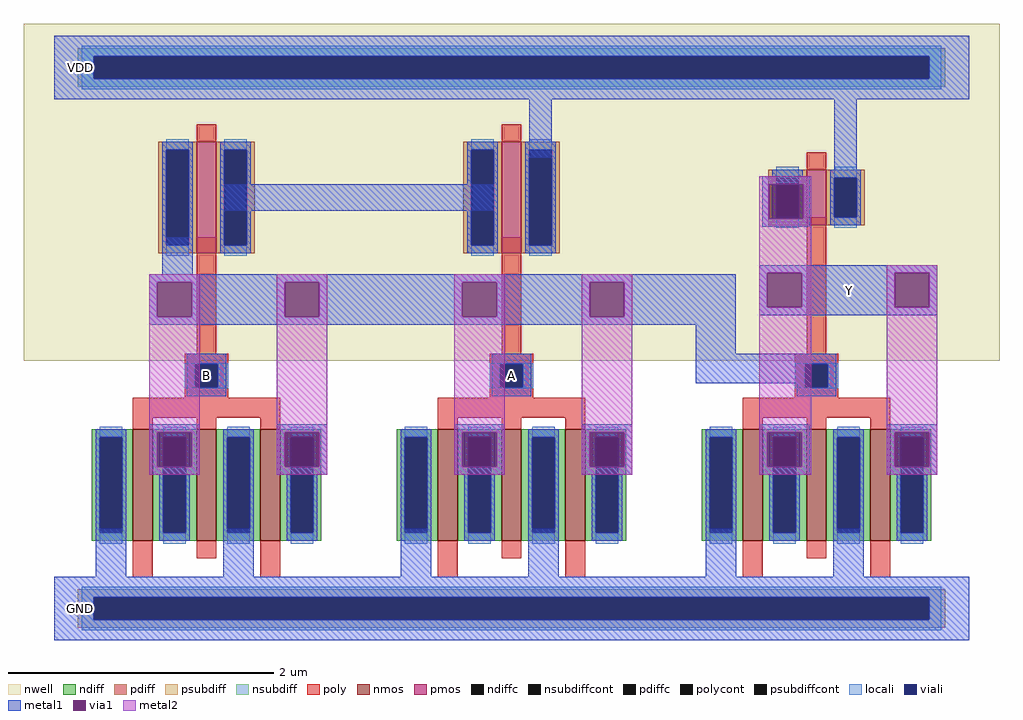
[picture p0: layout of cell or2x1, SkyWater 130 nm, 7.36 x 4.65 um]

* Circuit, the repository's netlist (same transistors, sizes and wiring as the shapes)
** sch_path: /foss/designs/or2x1.sch
.subckt or2x1 A B VDD GND Y
*.PININFO A:I B:I VDD:B GND:B Y:O
XM1 net1 A GND GND sky130_fd_pr__nfet_01v8 L=0.15 W=2.52 nf=3
XM3 net2 A VDD VDD sky130_fd_pr__pfet_01v8 L=0.15 W=0.84 nf=1
XM5 Y net1 VDD VDD sky130_fd_pr__pfet_01v8 L=0.15 W=0.42 nf=1
XM4 net1 B net2 VDD sky130_fd_pr__pfet_01v8 L=0.15 W=0.84 nf=1
XM2 net1 B GND GND sky130_fd_pr__nfet_01v8 L=0.15 W=2.52 nf=3
XM6 Y net1 GND GND sky130_fd_pr__nfet_01v8 L=0.15 W=2.52 nf=3
.ends

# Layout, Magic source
magic
tech sky130A
magscale 1 2
<< nwell >>
rect -46 374 1426 882
<< psubdiff >>
rect 36 17 1344 29
rect 36 -17 60 17
rect 1320 -17 1344 17
rect 36 -29 1344 -17
<< nsubdiff >>
rect 36 833 1344 845
rect 36 799 60 833
rect 1320 799 1344 833
rect 36 787 1344 799
<< psubdiffcont >>
rect 60 -17 1320 17
<< nsubdiffcont >>
rect 60 799 1320 833
<< poly >>
rect 215 384 245 560
rect 675 384 705 560
rect 1135 384 1165 590
rect 197 368 263 384
rect 197 334 213 368
rect 247 334 263 368
rect 197 318 263 334
rect 657 368 723 384
rect 657 334 673 368
rect 707 334 723 368
rect 657 318 723 334
rect 1117 368 1183 384
rect 1117 334 1133 368
rect 1167 334 1183 368
rect 1117 318 1183 334
rect 119 288 341 318
rect 579 288 801 318
rect 1039 288 1261 318
<< polycont >>
rect 213 334 247 368
rect 673 334 707 368
rect 1133 334 1167 368
<< locali >>
rect 42 833 1338 849
rect 42 799 60 833
rect 1320 799 1338 833
rect 42 783 1338 799
rect 197 368 263 370
rect 197 334 213 368
rect 247 334 263 368
rect 197 332 263 334
rect 657 368 723 370
rect 657 334 673 368
rect 707 334 723 368
rect 657 332 723 334
rect 1117 368 1183 370
rect 1117 334 1133 368
rect 1167 334 1183 368
rect 1117 332 1183 334
rect 42 17 1338 33
rect 42 -17 60 17
rect 1320 -17 1338 17
rect 42 -33 1338 -17
<< viali >>
rect 60 799 1320 833
rect 213 334 247 368
rect 673 334 707 368
rect 1133 334 1167 368
rect 60 -17 1320 17
<< metal1 >>
rect 0 833 1380 864
rect 0 799 60 833
rect 1320 799 1380 833
rect 0 768 1380 799
rect 717 680 751 768
rect 1068 640 1140 652
rect 1177 650 1211 768
rect 251 600 669 640
rect 1068 588 1078 640
rect 1130 588 1140 640
rect 1068 576 1140 588
rect 163 504 209 560
rect 1064 506 1332 518
rect 144 492 1028 504
rect 144 440 156 492
rect 208 440 348 492
rect 400 440 616 492
rect 668 440 808 492
rect 860 440 1028 492
rect 1064 454 1076 506
rect 1128 454 1268 506
rect 1320 454 1332 506
rect 1064 442 1332 454
rect 144 428 1028 440
rect 968 384 1028 428
rect 200 368 260 384
rect 200 334 213 368
rect 247 334 260 368
rect 200 320 260 334
rect 660 368 720 384
rect 660 334 673 368
rect 707 334 720 368
rect 968 368 1180 384
rect 968 340 1133 368
rect 660 320 720 334
rect 1120 334 1133 340
rect 1167 334 1180 368
rect 1120 320 1180 334
rect 144 266 220 278
rect 144 214 156 266
rect 208 214 220 266
rect 144 202 220 214
rect 336 266 412 278
rect 336 214 348 266
rect 400 214 412 266
rect 336 202 412 214
rect 604 266 680 278
rect 604 214 616 266
rect 668 214 680 266
rect 604 202 680 214
rect 796 266 872 278
rect 796 214 808 266
rect 860 214 872 266
rect 796 202 872 214
rect 1064 266 1140 278
rect 1064 214 1076 266
rect 1128 214 1140 266
rect 1064 202 1140 214
rect 1256 266 1332 278
rect 1256 214 1268 266
rect 1320 214 1332 266
rect 1256 202 1332 214
rect 63 48 109 120
rect 255 48 301 120
rect 523 48 569 120
rect 715 48 761 120
rect 983 48 1029 120
rect 1175 48 1221 120
rect 0 17 1380 48
rect 0 -17 60 17
rect 1320 -17 1380 17
rect 0 -48 1380 -17
<< via1 >>
rect 1078 588 1130 640
rect 156 440 208 492
rect 348 440 400 492
rect 616 440 668 492
rect 808 440 860 492
rect 1076 454 1128 506
rect 1268 454 1320 506
rect 156 214 208 266
rect 348 214 400 266
rect 616 214 668 266
rect 808 214 860 266
rect 1076 214 1128 266
rect 1268 214 1320 266
<< metal2 >>
rect 1064 640 1142 652
rect 1064 588 1078 640
rect 1130 588 1142 640
rect 1064 506 1142 588
rect 144 492 220 504
rect 144 440 156 492
rect 208 440 220 492
rect 144 266 220 440
rect 144 214 156 266
rect 208 214 220 266
rect 144 202 220 214
rect 336 492 412 504
rect 336 440 348 492
rect 400 440 412 492
rect 336 266 412 440
rect 336 214 348 266
rect 400 214 412 266
rect 336 202 412 214
rect 604 492 680 504
rect 604 440 616 492
rect 668 440 680 492
rect 604 266 680 440
rect 604 214 616 266
rect 668 214 680 266
rect 604 202 680 214
rect 796 492 872 504
rect 796 440 808 492
rect 860 440 872 492
rect 796 266 872 440
rect 796 214 808 266
rect 860 214 872 266
rect 796 202 872 214
rect 1064 454 1076 506
rect 1128 454 1142 506
rect 1064 266 1142 454
rect 1064 214 1076 266
rect 1128 214 1142 266
rect 1064 202 1142 214
rect 1256 506 1332 518
rect 1256 454 1268 506
rect 1320 454 1332 506
rect 1256 266 1332 454
rect 1256 214 1268 266
rect 1320 214 1332 266
rect 1256 202 1332 214
use sky130_fd_pr__nfet_01v8_RPKUUV  xna
transform 1 0 690 0 1 186
box -173 -139 173 139
use sky130_fd_pr__nfet_01v8_RPKUUV  xnb
transform 1 0 230 0 1 186
box -173 -139 173 139
use sky130_fd_pr__nfet_01v8_RPKUUV  xni
transform 1 0 1150 0 1 186
box -173 -139 173 139
use sky130_fd_pr__pfet_01v8_W5J8BK  xpa
transform 1 0 690 0 1 620
box -109 -146 109 146
use sky130_fd_pr__pfet_01v8_W5J8BK  xpb
transform 1 0 230 0 1 620
box -109 -146 109 146
use sky130_fd_pr__pfet_01v8_YNU6YZ  xpi
transform 1 0 1150 0 1 620
box -109 -104 109 104
<< labels >>
rlabel metal1 200 320 260 384 0 B
port 1 nsew
rlabel metal1 660 320 720 384 0 A
port 2 nsew
rlabel metal1 1160 460 1240 500 0 Y
port 3 nsew
rlabel metal1 10 780 70 852 0 VDD
port 4 nsew
rlabel metal1 10 -36 70 36 0 GND
port 5 nsew
<< properties >>
string FIXED_BBOX 0 0 1380 816
<< end >>

# cell sky130_fd_pr__nfet_01v8_RPKUUV: kit device sky130_fd_pr__nfet_01v8, w 0.84 l 0.15 m 1 nf 3 diffcov 100 polycov 100 guard 0 glc 1 grc 1 gtc 1 gbc 1 tbcov 100 rlcov 100 topc 0 botc 0 poverlap 0 doverlap 1 lmin 0.15 wmin 0.42 class mosfet compatible {sky130_fd_pr__nfet_01v8 sky130_fd_pr__nfet_01v8_lvt sky130_fd_bs_flash__special_sonosfet_star sky130_fd_pr__nfet_g5v0d10v5 sky130_fd_pr__nfet_05v0_nvt sky130_fd_pr__nfet_03v3_nvt} full_metal 1 conn_gates 0 viasrc 100 viadrn 100 viagate 100 viagb 0 viagr 0 viagl 0 viagt 0 doports 1

# cell sky130_fd_pr__pfet_01v8_W5J8BK: kit device sky130_fd_pr__pfet_01v8, w 0.84 l 0.15 m 1 nf 1 diffcov 100 polycov 100 guard 0 glc 1 grc 1 gtc 1 gbc 1 tbcov 100 rlcov 100 topc 0 botc 0 poverlap 0 doverlap 1 lmin 0.15 wmin 0.42 class mosfet compatible {sky130_fd_pr__pfet_01v8 sky130_fd_pr__pfet_01v8_lvt sky130_fd_pr__pfet_01v8_hvt sky130_fd_pr__pfet_g5v0d10v5} full_metal 1 conn_gates 0 viasrc 100 viadrn 100 viagate 100 viagb 0 viagr 0 viagl 0 viagt 0 doports 1

# cell sky130_fd_pr__pfet_01v8_YNU6YZ: kit device sky130_fd_pr__pfet_01v8, w 0.42 l 0.15 m 1 nf 1 diffcov 100 polycov 100 guard 0 glc 1 grc 1 gtc 1 gbc 1 tbcov 100 rlcov 100 topc 0 botc 0 poverlap 0 doverlap 1 lmin 0.15 wmin 0.42 class mosfet compatible {sky130_fd_pr__pfet_01v8 sky130_fd_pr__pfet_01v8_lvt sky130_fd_pr__pfet_01v8_hvt sky130_fd_pr__pfet_g5v0d10v5} full_metal 1 conn_gates 0 viasrc 100 viadrn 100 viagate 100 viagb 0 viagr 0 viagl 0 viagt 0 doports 1
